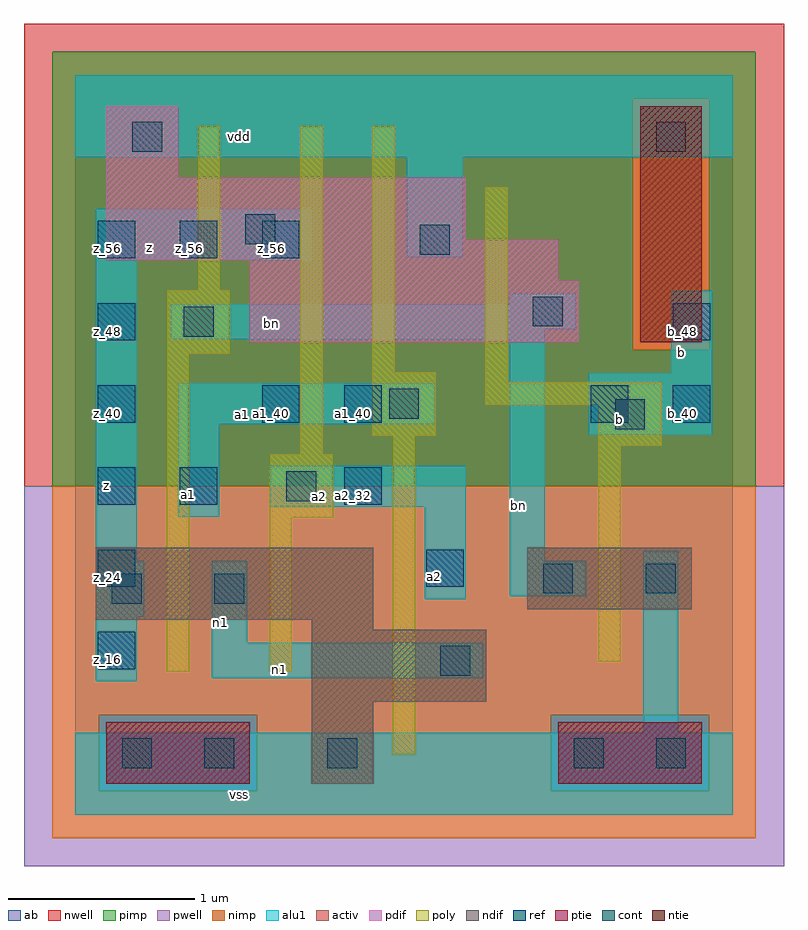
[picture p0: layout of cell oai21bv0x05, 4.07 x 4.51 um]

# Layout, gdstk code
import gdstk
lib = gdstk.Library(unit=1e-6, precision=2.5e-09)
def R(c, l, rs):  # rectangles x0, y0, x1, y1
    for r in rs: c.add(gdstk.rectangle(r[:2], r[2:], *l))
def A(c, l, x, y, w, h, nx, ny, dx, dy):  # array of equal rectangles
    R(c, l, [(x+i*dx, y+j*dy, x+i*dx+w, y+j*dy+h) for i in range(nx) for j in range(ny)])
ndif = (3, 0)
pdif = (4, 0)
ntie = (5, 0)
ptie = (6, 0)
ref = (24, 0)
cont = (25, 0)
pwell = (41, 0)
nwell = (42, 0)
activ = (43, 0)
pimp = (44, 0)
nimp = (45, 0)
poly = (46, 0)
alu1 = (49, 0)
ab = (63, 0)

oai21bv0x05 = lib.new_cell('oai21bv0x05')
R(oai21bv0x05, ndif, [(1.265,0.165,1.595,0.605), (1.265,0.605,2.2,0.99), (1.265,0.99,1.595,1.045), (0.11,1.045,1.595,1.43), (2.42,1.1,3.3,1.43)])
R(oai21bv0x05, pdif, [(0.935,2.53,2.695,2.86), (0.935,2.86,2.585,2.97), (0.165,2.97,2.585,3.08), (0.165,3.08,2.09,3.41), (0.165,3.41,0.55,3.795)])
R(oai21bv0x05, ntie, [(3.025,2.53,3.355,3.795)])
R(oai21bv0x05, ptie, [(0.165,0.165,0.935,0.495), (2.585,0.165,3.355,0.495)])
A(oai21bv0x05, ref, 0.12, 0.78, 0.2, 0.2, 1, 5, 0, 0.44)
A(oai21bv0x05, ref, 0.12, 2.98, 0.2, 0.2, 3, 1, 0.44, 0)
R(oai21bv0x05, ref, [(1.88,1.22,2.08,1.42), (0.56,1.66,0.76,1.86), (1.44,1.66,1.64,1.86), (1,2.1,1.2,2.3), (1.44,2.1,1.64,2.3), (2.76,2.1,2.96,2.3), (3.2,2.1,3.4,2.3), (3.2,2.54,3.4,2.74)])
R(oai21bv0x05, cont, [(0.25,0.25,0.41,0.41), (0.69,0.25,0.85,0.41), (1.35,0.25,1.51,0.41), (2.67,0.25,2.83,0.41), (3.11,0.25,3.27,0.41), (1.955,0.745,2.115,0.905), (0.195,1.13,0.355,1.29), (0.745,1.13,0.905,1.29), (2.505,1.185,2.665,1.345), (3.055,1.185,3.215,1.345), (1.13,1.68,1.29,1.84), (2.89,2.065,3.05,2.225), (1.68,2.12,1.84,2.28), (0.58,2.56,0.74,2.72), (2.45,2.615,2.61,2.775), (1.845,3,2.005,3.16), (0.91,3.055,1.07,3.215), (0.305,3.55,0.465,3.71), (3.11,3.55,3.27,3.71)])
R(oai21bv0x05, pwell, [(-0.275,-0.275,3.795,1.76)])
R(oai21bv0x05, nwell, [(-0.275,1.76,3.795,4.235)])
R(oai21bv0x05, activ, [(0.165,0.165,0.935,0.495), (1.265,0.165,1.595,0.605), (2.585,0.165,3.355,0.495), (1.265,0.605,2.2,0.99), (1.265,0.99,1.595,1.045), (0.11,1.045,1.595,1.43), (2.42,1.1,3.3,1.43), (0.935,2.53,2.695,2.86), (3.025,2.53,3.355,3.795), (0.935,2.86,2.585,2.97), (0.165,2.97,2.585,3.08), (0.165,3.08,2.09,3.41), (0.165,3.41,0.55,3.795)])
R(oai21bv0x05, pimp, [(0.125,0.125,0.975,0.535), (2.545,0.125,3.395,0.535), (-0.125,1.76,3.645,2.49), (-0.125,2.49,2.985,3.835), (3.395,2.49,3.645,3.835), (-0.125,3.835,3.645,4.085)])
R(oai21bv0x05, nimp, [(-0.125,-0.125,3.645,0.125), (-0.125,0.125,0.125,0.535), (0.975,0.125,2.545,0.535), (3.395,0.125,3.645,0.535), (-0.125,0.535,3.645,1.76), (2.985,2.49,3.395,3.835)])
R(oai21bv0x05, poly, [(1.7,0.325,1.82,2.03), (0.49,0.765,0.61,2.47), (1.04,0.765,1.16,1.59), (2.8,0.82,2.92,1.975), (1.04,1.59,1.38,1.93), (1.205,1.93,1.325,3.69), (2.8,1.975,3.14,2.195), (1.59,2.03,1.93,2.37), (2.195,2.195,3.14,2.315), (2.195,2.315,2.315,3.36), (1.59,2.37,1.71,3.69), (0.49,2.47,0.83,2.81), (0.655,2.81,0.775,3.69)])
R(oai21bv0x05, alu1, [(0,0,3.52,0.44), (3.04,0.44,3.23,1.415), (0.11,0.715,0.33,1.06), (0.73,0.73,2.185,0.92), (0.73,0.92,0.92,1.36), (0.11,1.06,0.37,1.36), (1.87,1.155,2.09,1.65), (2.325,1.17,2.735,1.36), (0.11,1.36,0.33,2.97), (2.325,1.36,2.515,2.545), (0.55,1.595,0.77,2.09), (1.045,1.65,2.09,1.87), (2.75,2.035,3.41,2.365), (0.55,2.09,1.925,2.31), (3.19,2.365,3.41,2.805), (0.51,2.545,2.515,2.6), (0.51,2.6,2.68,2.735), (2.325,2.735,2.68,2.79), (0.11,2.97,1.265,3.245), (1.775,2.985,2.075,3.52), (0,3.52,3.52,3.96)])
R(oai21bv0x05, ab, [(0,0,3.52,3.96)])
oai21bv0x05.add(gdstk.Label('vss', (0.88,0.11), layer=49, texttype=0))
oai21bv0x05.add(gdstk.Label('n1', (1.0925,0.7775), layer=49, texttype=0))
oai21bv0x05.add(gdstk.Label('b', (2.915,2.1175), layer=49, texttype=0))
oai21bv0x05.add(gdstk.Label('b', (3.245,2.475), layer=49, texttype=0))
oai21bv0x05.add(gdstk.Label('bn', (2.3725,1.655), layer=49, texttype=0))
oai21bv0x05.add(gdstk.Label('a2', (1.925,1.2775), layer=49, texttype=0))
oai21bv0x05.add(gdstk.Label('n1', (0.7775,1.03), layer=49, texttype=0))
oai21bv0x05.add(gdstk.Label('a2', (1.305,1.705), layer=49, texttype=0))
oai21bv0x05.add(gdstk.Label('a1', (0.605,1.7175), layer=49, texttype=0))
oai21bv0x05.add(gdstk.Label('a1', (0.8925,2.145), layer=49, texttype=0))
oai21bv0x05.add(gdstk.Label('bn', (1.0525,2.6325), layer=49, texttype=0))
oai21bv0x05.add(gdstk.Label('z', (0.165,1.7625), layer=49, texttype=0))
oai21bv0x05.add(gdstk.Label('z', (0.3975,3.0375), layer=49, texttype=0))
oai21bv0x05.add(gdstk.Label('vdd', (0.88,3.63), layer=49, texttype=0))
oai21bv0x05.add(gdstk.Label('z_56', (0.61,3.03), layer=24, texttype=0))
oai21bv0x05.add(gdstk.Label('z_56', (1.05,3.03), layer=24, texttype=0))
oai21bv0x05.add(gdstk.Label('z_16', (0.17,0.83), layer=24, texttype=0))
oai21bv0x05.add(gdstk.Label('z_24', (0.17,1.27), layer=24, texttype=0))
oai21bv0x05.add(gdstk.Label('z_32', (0.17,1.71), layer=24, texttype=0))
oai21bv0x05.add(gdstk.Label('z_40', (0.17,2.15), layer=24, texttype=0))
oai21bv0x05.add(gdstk.Label('z_48', (0.17,2.59), layer=24, texttype=0))
oai21bv0x05.add(gdstk.Label('z_56', (0.17,3.03), layer=24, texttype=0))
oai21bv0x05.add(gdstk.Label('a1_40', (1.49,2.15), layer=24, texttype=0))
oai21bv0x05.add(gdstk.Label('a2_32', (1.49,1.71), layer=24, texttype=0))
oai21bv0x05.add(gdstk.Label('a2_24', (1.93,1.27), layer=24, texttype=0))
oai21bv0x05.add(gdstk.Label('a1_32', (0.61,1.71), layer=24, texttype=0))
oai21bv0x05.add(gdstk.Label('a1_40', (1.05,2.15), layer=24, texttype=0))
oai21bv0x05.add(gdstk.Label('b_40', (2.81,2.15), layer=24, texttype=0))
oai21bv0x05.add(gdstk.Label('b_48', (3.25,2.59), layer=24, texttype=0))
oai21bv0x05.add(gdstk.Label('b_40', (3.25,2.15), layer=24, texttype=0))

lib.write_gds('oai21bv0x05.gds')
